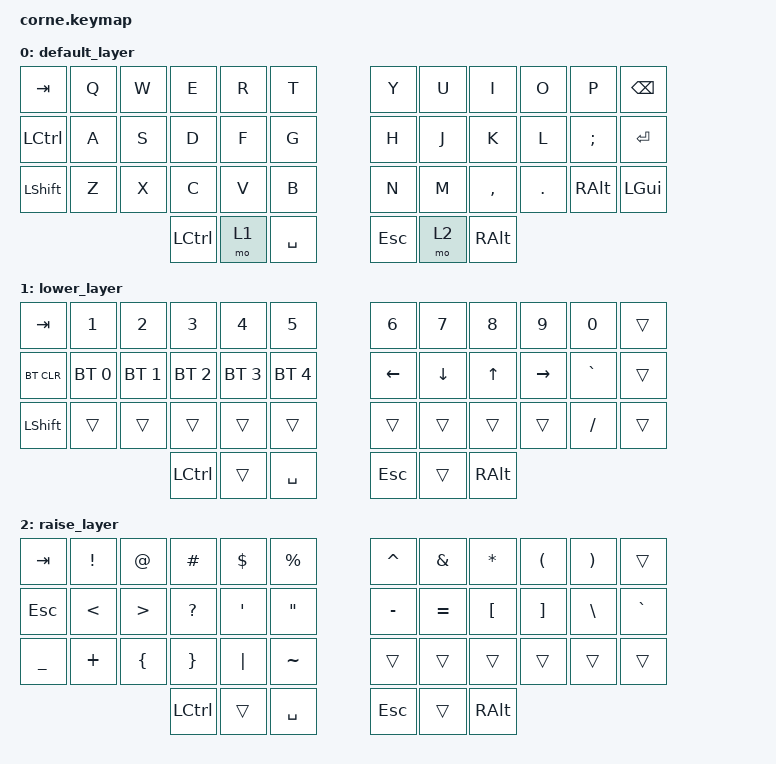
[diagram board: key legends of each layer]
/*
 * Copyright (c) 2020 The ZMK Contributors
 *
 * SPDX-License-Identifier: MIT
 */

#include <behaviors.dtsi>
#include <dt-bindings/zmk/keys.h>
#include <dt-bindings/zmk/bt.h>

/ {
        keymap {
                compatible = "zmk,keymap";

                default_layer {
// -----------------------------------------------------------------------------------------
// |  TAB |  Q  |  W  |  E  |  R  |  T  |   |  Y  |  U   |  I  |  O  |  P  | DEL  |
// | CTRL |  A  |  S  |  D  |  F  |  G  |   |  H  |  J   |  K  |  L  |  ;  | RET  |
// | SHFT |  Z  |  X  |  C  |  V  |  B  |   |  N  |  M   |  ,  |  .  | ALT | GUI  |
//                    | CTRL | LWR | SPC|   | ESC | RSE  | ALT |
                        bindings = <
   &kp TAB   &kp Q &kp W &kp E &kp R &kp T   &kp Y &kp U  &kp I     &kp O   &kp P    &kp BSPC 
   &kp LCTRL   &kp A &kp S &kp D &kp F &kp G   &kp H &kp J  &kp K     &kp L   &kp SEMI &kp RET
   &kp LSHFT &kp Z &kp X &kp C &kp V &kp B   &kp N &kp M  &kp COMMA &kp DOT &kp RALT    &kp LGUI
                  &kp LCTRL &mo 1 &kp SPACE   &kp ESC &mo 2 &kp RALT
                        >;
                };
                lower_layer {
// -----------------------------------------------------------------------------------------
// |  TAB |  1  |  2  |  3  |  4  |  5  |   |  6  |  7  |  8  |  9  |  0  |      |
// | BTCLR| BT1 | BT2 | BT3 | BT4 | BT5 |   | LFT | DWN |  UP | RGT |  `  |      |
// | SHFT |     |     |      |     |     |  |     |     |     |     |  /  |      |
//                    | CTRL |     | SPC|   | BSPC|     | ALT |
                        bindings = <
   &kp TAB    &kp N1       &kp N2       &kp N3       &kp N4       &kp N5         &kp N6   &kp N7   &kp N8 &kp N9    &kp N0 &trans
   &bt BT_CLR &bt BT_SEL 0 &bt BT_SEL 1 &bt BT_SEL 2 &bt BT_SEL 3 &bt BT_SEL 4   &kp LEFT &kp DOWN &kp UP &kp RIGHT &kp GRAVE &trans
   &kp LSHFT  &trans       &trans       &trans       &trans       &trans         &trans   &trans   &trans &trans    &kp FSLH &trans
                            &kp LCTRL   &trans       &kp SPACE    &kp ESC &trans   &kp RALT
                        >;
                };

                raise_layer {
// -----------------------------------------------------------------------------------------
// |  TAB |  !  |  @  |  #  |  $  |  %  |   |  ^  |  &  |  *  |  (  |  )  |      |
// | ESC  |  <  |  >  |  ?  |  '  |  "  |   |  -  |  =  |  [  |  ]  |  \  |      |
// |  _   |  +  |  {  |  }  | "|" |  ~  |   |     |     |     |     |     |      | 
//                    | CTRL|     | SPC |   | BSPC|     | ALT |
                        bindings = <
   &kp  TAB  &kp EXCL &kp AT &kp HASH  &kp DLLR &kp PRCNT   &kp CARET &kp AMPS  &kp ASTRK &kp LPAR &kp RPAR &trans 
   &kp ESC   &kp LT   &kp GT &kp QMARK &kp SQT  &kp DQT     &kp MINUS &kp EQUAL &kp LBKT  &kp RBKT &kp BSLH &kp GRAVE
   &kp UNDER &kp PLUS  &kp LBRC  &kp RBRC &kp PIPE &kp TILDE &trans &trans   &trans &trans   &trans    &trans    
                            &kp LCTRL &trans   &kp SPACE   &kp ESC &trans    &kp RALT
                        >;
                };
        };
};
